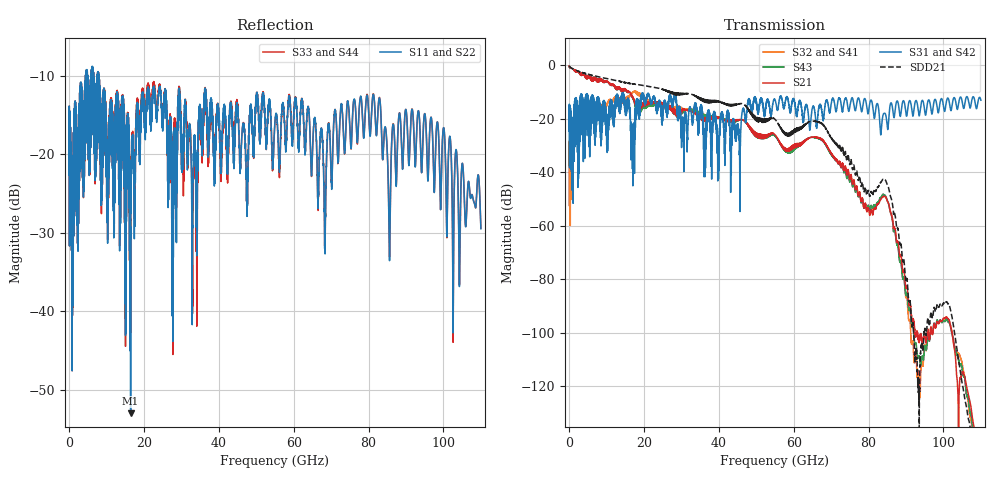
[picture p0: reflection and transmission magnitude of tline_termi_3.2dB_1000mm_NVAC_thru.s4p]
!4 port subset of full cascaded channels using these ports:3 1 4 2
# Hz S RI R 50
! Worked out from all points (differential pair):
!   11000 points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, 10 MHz to 110 GHz, reference 50 ohm
!   strongest paths, dB at 10 MHz, 27.51 GHz, 55.01 GHz, 82.51 GHz, 110 GHz:
!     S31: -24.5, -15.3, -12.9, -14.8, -13.0
!     S42: -24.5, -15.3, -12.9, -14.8, -13.0
!     S21: -0.3, -15.9, -25.9, -51.9, -
!     S43: -0.3, -15.9, -26.5, -51.2, -
!     S32: -37.3, -15.9, -26.2, -51.5, -
!     S41: -37.3, -15.9, -26.2, -51.5, -
!   taken as a pair (ports 1,3 in; 2,4 out), SDD21 dB: -0.2, -10.0, -20.2, -45.5, -
!   lowest |S11| = -53.0 dB at 16.44 GHz (marker M1), VSWR 1.00, Z = 49.8 + j0.0784 ohm
!   |S11| at or under -10 dB: start of sweep to 4.384 GHz; 6.553 GHz to 7.503 GHz (950.1 MHz wide, 13.5 % of centre); 7.985 GHz to end of sweep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
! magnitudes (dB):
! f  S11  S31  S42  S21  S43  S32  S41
! 10 MHz  -22.7  -24.5  -24.5  -0.3  -0.3  -37.3  -37.3
! 2.85 GHz  -13.8  -20.7  -20.7  -2.8  -2.7  -19.5  -19.5
! 16.44 GHz  -53.0  -22.4  -22.4  -10.3  -10.5  -10.7  -10.7
! 67.13 GHz  -17.8  -14.6  -14.6  -27.5  -27.7  -27.6  -27.6
! 84.52 GHz  -16.6  -18.2  -18.2  -49.1  -48.8  -49.0  -49.0
! 89.56 GHz  -16.1  -13.9  -13.9  -77.5  -80.3  -80.4  -80.4
! 110 GHz  -29.5  -13.0  -13.0  -  -  -  -
